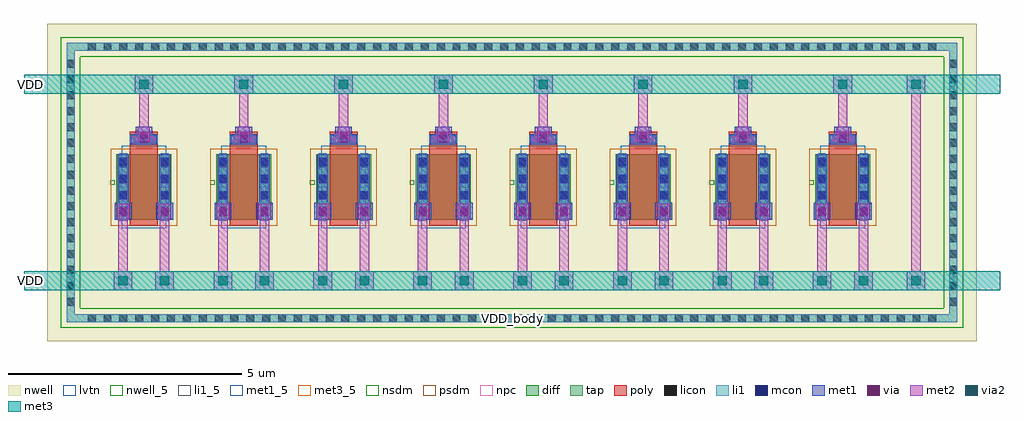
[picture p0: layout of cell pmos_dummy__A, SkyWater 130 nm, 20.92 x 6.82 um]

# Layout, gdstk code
import gdstk
lib = gdstk.Library(unit=1e-6, precision=1e-09)
def R(c, l, rs):  # rectangles x0, y0, x1, y1
    for r in rs: c.add(gdstk.rectangle(r[:2], r[2:], *l))
def A(c, l, x, y, w, h, nx, ny, dx, dy):  # array of equal rectangles
    R(c, l, [(x+i*dx, y+j*dy, x+i*dx+w, y+j*dy+h) for i in range(nx) for j in range(ny)])
nwell_5 = (64, 5)
nwell = (64, 20)
diff = (65, 20)
tap = (65, 44)
poly = (66, 20)
licon = (66, 44)
li1_5 = (67, 5)
li1 = (67, 20)
mcon = (67, 44)
met1_5 = (68, 5)
met1 = (68, 20)
via = (68, 44)
met2 = (69, 20)
via2 = (69, 44)
met3_5 = (70, 5)
met3 = (70, 20)
nsdm = (93, 44)
psdm = (94, 20)
npc = (95, 20)
lvtn = (125, 44)

sky130_fd_pr__pfet_01v8_ = lib.new_cell('sky130_fd_pr__pfet_01v8_lvt_L7GY3J')
R(sky130_fd_pr__pfet_01v8_, nwell, [(-0.77,-1.19,0.77,1.02)])
R(sky130_fd_pr__pfet_01v8_, diff, [(-0.59,-0.88,0.59,0.52)])
R(sky130_fd_pr__pfet_01v8_, poly, [(-0.3,-1.01,0.3,1.005)])
A(sky130_fd_pr__pfet_01v8_, licon, -0.53, -0.775, 0.17, 0.17, 1, 4, 0, 0.34)
A(sky130_fd_pr__pfet_01v8_, licon, 0.36, -0.775, 0.17, 0.17, 1, 4, 0, 0.34)
R(sky130_fd_pr__pfet_01v8_, licon, [(-0.085,0.755,0.085,0.925)])
R(sky130_fd_pr__pfet_01v8_, li1, [(-0.53,-0.9,-0.36,0.54), (0.36,-0.9,0.53,0.54), (-0.3,0.755,0.3,0.925)])
A(sky130_fd_pr__pfet_01v8_, mcon, -0.53, -0.805, 0.17, 0.17, 1, 4, 0, 0.36)
A(sky130_fd_pr__pfet_01v8_, mcon, 0.36, -0.805, 0.17, 0.17, 1, 4, 0, 0.36)
R(sky130_fd_pr__pfet_01v8_, mcon, [(-0.085,0.755,0.085,0.925)])
R(sky130_fd_pr__pfet_01v8_, met1, [(-0.56,-0.88,-0.33,0.52), (0.33,-0.88,0.56,0.52), (-0.28,0.725,0.28,0.955)])
R(sky130_fd_pr__pfet_01v8_, psdm, [(-0.715,-1.005,0.715,0.645)])
R(sky130_fd_pr__pfet_01v8_, npc, [(-0.185,0.655,0.185,1.025)])
R(sky130_fd_pr__pfet_01v8_, lvtn, [(-0.48,-1.06,0.48,0.7)])
sky130_fd_pr__pfet_01v8_.add(gdstk.Label('D', (-0.445,-0.18), layer=67, texttype=5))
sky130_fd_pr__pfet_01v8_.add(gdstk.Label('S', (0.445,-0.18), layer=67, texttype=5))
sky130_fd_pr__pfet_01v8_.add(gdstk.Label('G', (0,0.84), layer=67, texttype=5))

pfet_01v8_lvt_w1p4_l0p6_ = lib.new_cell('pfet_01v8_lvt_W1p4_L0p6_m8__nf1_gtop_sdfull_ng')
R(pfet_01v8_lvt_w1p4_l0p6_, nwell_5, [(0.05,1.055,0.15,1.155)])
R(pfet_01v8_lvt_w1p4_l0p6_, nwell, [(0.05,1.055,0.15,1.155)])
R(pfet_01v8_lvt_w1p4_l0p6_, met1_5, [(0.21,1.01,0.44,1.21), (1.1,1.01,1.33,1.21), (0.49,1.915,1.05,2.145)])
R(pfet_01v8_lvt_w1p4_l0p6_, met1, [(0.21,1.01,0.44,1.21), (1.1,1.01,1.33,1.21), (0.49,1.915,1.05,2.145)])
pfet_01v8_lvt_w1p4_l0p6_.add(gdstk.Reference(sky130_fd_pr__pfet_01v8_, (0.77,1.19)))
pfet_01v8_lvt_w1p4_l0p6_.add(gdstk.Label('D', (0.325,1.11), layer=68, texttype=5))
pfet_01v8_lvt_w1p4_l0p6_.add(gdstk.Label('S', (1.215,1.11), layer=68, texttype=5))
pfet_01v8_lvt_w1p4_l0p6_.add(gdstk.Label('G', (0.77,2.03), layer=68, texttype=5))
pfet_01v8_lvt_w1p4_l0p6_.add(gdstk.Label('B', (0.1,1.105), layer=64, texttype=5))

pmos_dummy__a = lib.new_cell('pmos_dummy__A')
R(pmos_dummy__a, nwell, [(-1.3,-2.3,18.62,4.515)])
R(pmos_dummy__a, tap, [(-0.885,-1.885,18.205,-1.715), (-0.885,-1.715,-0.715,3.93), (18.035,-1.715,18.205,3.93), (-0.885,3.93,18.205,4.1)])
A(pmos_dummy__a, licon, -0.435, -1.885, 0.17, 0.17, 54, 2, 0.34, 5.815)
A(pmos_dummy__a, licon, -0.885, -1.53, 0.17, 0.17, 1, 16, 0, 0.34)
A(pmos_dummy__a, licon, 18.035, -1.53, 0.17, 0.17, 1, 16, 0, 0.34)
R(pmos_dummy__a, li1_5, [(8.61,-1.85,8.71,-1.75)])
R(pmos_dummy__a, li1, [(-0.885,-1.885,18.205,-1.715), (-0.885,-1.715,-0.715,3.93), (18.035,-1.715,18.205,3.93), (-0.885,3.93,18.205,4.1)])
A(pmos_dummy__a, met1, 0.59, 1.945, 0.36, 0.36, 8, 1, 2.14, 0)
R(pmos_dummy__a, met1, [(0.145,0.31,0.505,0.67), (1.035,0.31,1.395,0.67), (2.285,0.31,2.645,0.67), (3.175,0.31,3.535,0.67), (4.425,0.31,4.785,0.67), (5.315,0.31,5.675,0.67), (6.565,0.31,6.925,0.67), (7.455,0.31,7.815,0.67), (8.705,0.31,9.065,0.67), (9.595,0.31,9.955,0.67), (10.845,0.31,11.205,0.67), (11.735,0.31,12.095,0.67), (12.985,0.31,13.345,0.67), (13.875,0.31,14.235,0.67), (15.125,0.31,15.485,0.67), (16.015,0.31,16.375,0.67)])
A(pmos_dummy__a, via, 0.695, 2.05, 0.15, 0.15, 8, 1, 2.14, 0)
R(pmos_dummy__a, via, [(0.25,0.415,0.4,0.565), (1.14,0.415,1.29,0.565), (2.39,0.415,2.54,0.565), (3.28,0.415,3.43,0.565), (4.53,0.415,4.68,0.565), (5.42,0.415,5.57,0.565), (6.67,0.415,6.82,0.565), (7.56,0.415,7.71,0.565), (8.81,0.415,8.96,0.565), (9.7,0.415,9.85,0.565), (10.95,0.415,11.1,0.565), (11.84,0.415,11.99,0.565), (13.09,0.415,13.24,0.565), (13.98,0.415,14.13,0.565), (15.23,0.415,15.38,0.565), (16.12,0.415,16.27,0.565)])
A(pmos_dummy__a, met2, 0.64, 1.965, 0.26, 0.32, 8, 1, 2.14, 0)
A(pmos_dummy__a, met2, 0.67, 2.285, 0.2, 0.73, 8, 1, 2.14, 0)
A(pmos_dummy__a, met2, 0.57, 3.015, 0.4, 0.4, 8, 1, 2.14, 0)
R(pmos_dummy__a, met2, [(0.125,-1.2,0.525,-0.8), (1.015,-1.2,1.415,-0.8), (2.265,-1.2,2.665,-0.8), (3.155,-1.2,3.555,-0.8), (4.405,-1.2,4.805,-0.8), (5.295,-1.2,5.695,-0.8), (6.545,-1.2,6.945,-0.8), (7.435,-1.2,7.835,-0.8), (8.685,-1.2,9.085,-0.8), (9.575,-1.2,9.975,-0.8), (10.825,-1.2,11.225,-0.8), (11.715,-1.2,12.115,-0.8), (12.965,-1.2,13.365,-0.8), (13.855,-1.2,14.255,-0.8), (15.105,-1.2,15.505,-0.8), (15.995,-1.2,16.395,-0.8), (17.12,-1.2,17.52,-0.8), (0.225,-0.8,0.425,0.33), (1.115,-0.8,1.315,0.33), (2.365,-0.8,2.565,0.33), (3.255,-0.8,3.455,0.33), (4.505,-0.8,4.705,0.33), (5.395,-0.8,5.595,0.33), (6.645,-0.8,6.845,0.33), (7.535,-0.8,7.735,0.33), (8.785,-0.8,8.985,0.33), (9.675,-0.8,9.875,0.33), (10.925,-0.8,11.125,0.33), (11.815,-0.8,12.015,0.33), (13.065,-0.8,13.265,0.33), (13.955,-0.8,14.155,0.33), (15.205,-0.8,15.405,0.33), (16.095,-0.8,16.295,0.33), (17.22,-0.8,17.42,3.015), (0.195,0.33,0.455,0.65), (1.085,0.33,1.345,0.65), (2.335,0.33,2.595,0.65), (3.225,0.33,3.485,0.65), (4.475,0.33,4.735,0.65), (5.365,0.33,5.625,0.65), (6.615,0.33,6.875,0.65), (7.505,0.33,7.765,0.65), (8.755,0.33,9.015,0.65), (9.645,0.33,9.905,0.65), (10.895,0.33,11.155,0.65), (11.785,0.33,12.045,0.65), (13.035,0.33,13.295,0.65), (13.925,0.33,14.185,0.65), (15.175,0.33,15.435,0.65), (16.065,0.33,16.325,0.65), (17.12,3.015,17.52,3.415)])
A(pmos_dummy__a, via2, 0.67, 3.115, 0.2, 0.2, 8, 1, 2.14, 0)
R(pmos_dummy__a, via2, [(0.225,-1.1,0.425,-0.9), (1.115,-1.1,1.315,-0.9), (2.365,-1.1,2.565,-0.9), (3.255,-1.1,3.455,-0.9), (4.505,-1.1,4.705,-0.9), (5.395,-1.1,5.595,-0.9), (6.645,-1.1,6.845,-0.9), (7.535,-1.1,7.735,-0.9), (8.785,-1.1,8.985,-0.9), (9.675,-1.1,9.875,-0.9), (10.925,-1.1,11.125,-0.9), (11.815,-1.1,12.015,-0.9), (13.065,-1.1,13.265,-0.9), (13.955,-1.1,14.155,-0.9), (15.205,-1.1,15.405,-0.9), (16.095,-1.1,16.295,-0.9), (17.22,-1.1,17.42,-0.9), (17.22,3.115,17.42,3.315)])
R(pmos_dummy__a, met3_5, [(-1.7,-1.05,-1.6,-0.95), (-1.7,3.165,-1.6,3.265)])
R(pmos_dummy__a, met3, [(-1.8,-1.2,19.12,-0.8), (-1.8,3.015,19.12,3.415)])
R(pmos_dummy__a, nsdm, [(-1.01,-2.01,18.33,-1.59), (-1.01,-1.59,-0.59,3.805), (17.91,-1.59,18.33,3.805), (-1.01,3.805,18.33,4.225)])
pmos_dummy__a.add(gdstk.Reference(pfet_01v8_lvt_w1p4_l0p6_, (14.98,0)))
pmos_dummy__a.add(gdstk.Reference(pfet_01v8_lvt_w1p4_l0p6_, (12.84,0)))
pmos_dummy__a.add(gdstk.Reference(pfet_01v8_lvt_w1p4_l0p6_, (10.7,0)))
pmos_dummy__a.add(gdstk.Reference(pfet_01v8_lvt_w1p4_l0p6_, (8.56,0)))
pmos_dummy__a.add(gdstk.Reference(pfet_01v8_lvt_w1p4_l0p6_, (6.42,0)))
pmos_dummy__a.add(gdstk.Reference(pfet_01v8_lvt_w1p4_l0p6_, (4.28,0)))
pmos_dummy__a.add(gdstk.Reference(pfet_01v8_lvt_w1p4_l0p6_, (2.14,0)))
pmos_dummy__a.add(gdstk.Reference(pfet_01v8_lvt_w1p4_l0p6_, (0,0)))
pmos_dummy__a.add(gdstk.Label('VDD', (-1.65,3.215), layer=70, texttype=5))
pmos_dummy__a.add(gdstk.Label('VDD', (-1.65,-1), layer=70, texttype=5))
pmos_dummy__a.add(gdstk.Label('VDD_body', (8.66,-1.8), layer=67, texttype=5))

lib.write_gds('pmos_dummy__A.gds')
